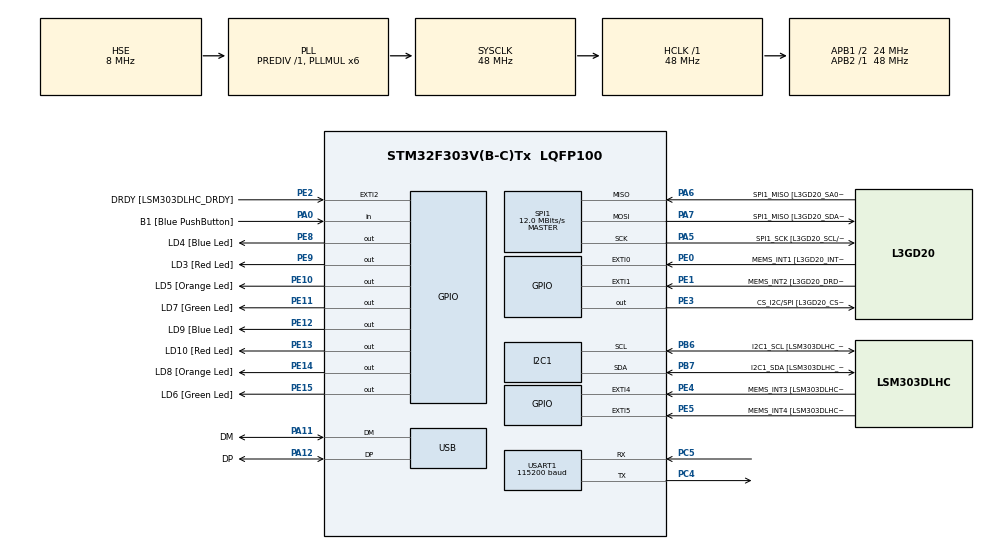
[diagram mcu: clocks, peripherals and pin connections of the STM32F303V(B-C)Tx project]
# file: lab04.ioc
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I2C1.Timing=0x00201D2B
I2C1.Timing-I2C=0x2000090E
Mcu.Family=STM32F3
Mcu.Name=STM32F303V(B-C)Tx
Mcu.Package=LQFP100
NVIC.PriorityGroup=NVIC_PRIORITYGROUP_0
NVIC.TIM2_IRQn=true\:0\:0\:false\:false\:true\:true\:true\:true
PA0.GPIO_Label=B1 [Blue PushButton]
PA0.Signal=GPIO_Input
PA11.GPIO_Label=DM
PA11.Mode=Device
PA11.Signal=USB_DM
PA12.GPIO_Label=DP
PA12.Mode=Device
PA12.Signal=USB_DP
PA13.GPIO_Label=SWDIO
PA13.Mode=Serial_Wire
PA13.Signal=SYS_JTMS-SWDIO
PA14.GPIO_Label=SWCLK
PA14.Mode=Serial_Wire
PA14.Signal=SYS_JTCK-SWCLK
PA5.GPIO_Label=SPI1_SCK [L3GD20_SCL/SPC]
PA5.Mode=Full_Duplex_Master
PA5.Signal=SPI1_SCK
PA6.GPIO_Label=SPI1_MISO [L3GD20_SA0/SDO]
PA6.Mode=Full_Duplex_Master
PA6.Signal=SPI1_MISO
PA7.GPIO_Label=SPI1_MISO [L3GD20_SDA/SDI/SDO]
PA7.Mode=Full_Duplex_Master
PA7.Signal=SPI1_MOSI
PB3.GPIO_Label=SWO
PB3.Signal=SYS_JTDO-TRACESWO
PB6.GPIO_Label=I2C1_SCL [LSM303DLHC_SCL]
PB6.GPIO_Pu=GPIO_PULLUP
PB6.Mode=I2C
PB6.Signal=I2C1_SCL
PB7.GPIO_Label=I2C1_SDA [LSM303DLHC_SDA]
PB7.GPIO_Pu=GPIO_PULLUP
PB7.Mode=I2C
PB7.Signal=I2C1_SDA
PC14-OSC32_IN.GPIO_Label=OSC32_IN
PC14-OSC32_IN.Signal=RCC_OSC32_IN
PC15-OSC32_OUT.GPIO_Label=OSC32_OUT
PC15-OSC32_OUT.Signal=RCC_OSC32_OUT
PC4.Mode=Asynchronous
PC4.Signal=USART1_TX
PC5.Mode=Asynchronous
PC5.Signal=USART1_RX
PE0.GPIO_Label=MEMS_INT1 [L3GD20_INT1]
PE0.GPIO_ModeDefaultEXTI=GPIO_MODE_EVT_RISING
PE0.Signal=GPXTI0
PE1.GPIO_Label=MEMS_INT2 [L3GD20_DRDY/INT2]
PE1.GPIO_ModeDefaultEXTI=GPIO_MODE_EVT_RISING
PE1.Signal=GPXTI1
PE10.GPIO_Label=LD5 [Orange Led]
PE10.Signal=GPIO_Output
PE11.GPIO_Label=LD7 [Green Led]
PE11.Signal=GPIO_Output
PE12.GPIO_Label=LD9 [Blue Led]
PE12.Signal=GPIO_Output
PE13.GPIO_Label=LD10 [Red Led]
PE13.Signal=GPIO_Output
PE14.GPIO_Label=LD8 [Orange Led]
PE14.Signal=GPIO_Output
PE15.GPIO_Label=LD6 [Green Led]
PE15.Signal=GPIO_Output
PE2.GPIO_Label=DRDY [LSM303DLHC_DRDY]
PE2.GPIO_ModeDefaultEXTI=GPIO_MODE_EVT_RISING
PE2.Signal=GPXTI2
PE3.GPIO_Label=CS_I2C/SPI [L3GD20_CS_I2C/SPI]
PE3.Signal=GPIO_Output
PE4.GPIO_Label=MEMS_INT3 [LSM303DLHC_INT1]
PE4.GPIO_ModeDefaultEXTI=GPIO_MODE_EVT_RISING
PE4.Signal=GPXTI4
PE5.GPIO_Label=MEMS_INT4 [LSM303DLHC_INT2]
PE5.GPIO_ModeDefaultEXTI=GPIO_MODE_EVT_RISING
PE5.Signal=GPXTI5
PE8.GPIO_Label=LD4 [Blue Led]
PE8.Signal=GPIO_Output
PE9.GPIO_Label=LD3 [Red Led]
PE9.Signal=GPIO_Output
PF0-OSC_IN.GPIO_Label=OSC_IN
PF0-OSC_IN.Mode=HSE-External-Clock-Source
PF0-OSC_IN.Signal=RCC_OSC_IN
PF1-OSC_OUT.GPIO_Label=OSC_OUT
PF1-OSC_OUT.Signal=RCC_OSC_OUT
ProjectManager.HeapSize=0x200
ProjectManager.StackSize=0x400
ProjectManager.TargetToolchain=CMake
RCC.AHBFreq_Value=48000000
RCC.APB1CLKDivider=RCC_HCLK_DIV2
RCC.APB1Freq_Value=24000000
RCC.APB1TimFreq_Value=48000000
RCC.APB2Freq_Value=48000000
RCC.APB2TimFreq_Value=48000000
RCC.CortexFreq_Value=48000000
RCC.HCLKFreq_Value=48000000
RCC.HSE_VALUE=8000000
RCC.HSI_VALUE=8000000
RCC.LSE_VALUE=32768
RCC.PLLMUL=RCC_PLL_MUL6
RCC.SYSCLKFreq_VALUE=48000000
RCC.SYSCLKSourceVirtual=RCC_SYSCLKSOURCE_PLLCLK
RCC.USBFreq_Value=48000000
SPI1.BaudRatePrescaler=SPI_BAUDRATEPRESCALER_4
SPI1.BaudRatePrescaler-Full_Duplex_Master=SPI_BAUDRATEPRESCALER_2
SPI1.CalculateBaudRate=12.0 MBits/s
SPI1.CalculateBaudRate-Full_Duplex_Master=24.0 MBits/s
SPI1.Direction=SPI_DIRECTION_2LINES
SPI1.Mode=SPI_MODE_MASTER
SPI1.Mode-Full_Duplex_Master=SPI_MODE_MASTER
SPI1.VirtualType=VM_MASTER
TIM2.Prescaler=71
USART1.BaudRate=115200
USART1.VirtualMode-Asynchronous=VM_ASYNC
VP_TIM2_VS_ClockSourceINT.Mode=Internal
board=STM32F3DISCOVERY

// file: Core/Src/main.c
/* USER CODE BEGIN Header */
/**
  ******************************************************************************
  * @file           : main.c
  * @brief          : Main program body
  ******************************************************************************
  * @attention
  *
  * Copyright (c) 2026 STMicroelectronics.
  * All rights reserved.
  *
  * This software is licensed under terms that can be found in the LICENSE file
  * in the root directory of this software component.
  * If no LICENSE file comes with this software, it is provided AS-IS.
  *
  ******************************************************************************
  */
/* USER CODE END Header */
#include "main.h"

/* USER CODE BEGIN Includes */
#include <stdarg.h>
#include <stdio.h>
#include <string.h>

/* USER CODE END Includes */

I2C_HandleTypeDef hi2c1;

SPI_HandleTypeDef hspi1;

TIM_HandleTypeDef htim2;

UART_HandleTypeDef huart1;

PCD_HandleTypeDef hpcd_USB_FS;

void SystemClock_Config(void);
static void MX_GPIO_Init(void);
static void MX_I2C1_Init(void);
static void MX_SPI1_Init(void);
static void MX_TIM2_Init(void);
static void MX_USART1_UART_Init(void);
static void MX_USB_PCD_Init(void);

/* USER CODE BEGIN 0 */

void delay(uint32_t t) {
    __HAL_TIM_SET_COUNTER(&htim2, 0);
    HAL_TIM_Base_Start(&htim2);
    while (__HAL_TIM_GET_COUNTER(&htim2) < t) {}
    HAL_TIM_Base_Stop(&htim2);
}

// void HAL_TIM_PeriodElapsedCallback ( TIM_HandleTypeDef *htim) {
//   if (htim -> Instance == TIM2) {
//   HAL_GPIO_TogglePin (GPIOE , GPIO_PIN_9 );
//   }
// }

int c=0;
void HAL_TIM_PeriodElapsedCallback(TIM_HandleTypeDef *htim) {
  if (htim -> Instance == TIM2) {c++;
    if (c%100==0){HAL_GPIO_TogglePin (GPIOE , GPIO_PIN_9 );}
    if (c%200==0 ){HAL_GPIO_TogglePin (GPIOE , GPIO_PIN_10 );}
    if (c%500==0){c=0;HAL_GPIO_TogglePin (GPIOE , GPIO_PIN_11 );}
  }
}

void task1(){
  HAL_GPIO_TogglePin (GPIOE , GPIO_PIN_9 );
  delay(1000);
}

uint32_t last_capture = 0, period = 0;
void HAL_TIM_IC_CaptureCallback ( TIM_HandleTypeDef *htim) {
  if (htim -> Channel == HAL_TIM_ACTIVE_CHANNEL_1 ) {
    uint32_t current_capture = HAL_TIM_ReadCapturedValue (htim ,
    TIM_CHANNEL_1 );
    period = current_capture - last_capture ;
    last_capture = current_capture ;
    }
}
void cout(const char* fmt, ...) {
    char buffer[128];
    va_list args;
    va_start(args, fmt);
    int l = vsnprintf(buffer, sizeof(buffer), fmt, args);
    va_end(args);
    if (l > 0) {
        HAL_UART_Transmit(&huart1, (uint8_t*)buffer, l, HAL_MAX_DELAY);
    }
}

/* USER CODE END 0 */

int main(void)
{

  /* MCU Configuration--------------------------------------------------------*/

  /* Reset of all peripherals, Initializes the Flash interface and the Systick. */
  HAL_Init();

  /* Configure the system clock */
  SystemClock_Config();

  /* Initialize all configured peripherals */
  MX_GPIO_Init();
  MX_I2C1_Init();
  MX_SPI1_Init();
  MX_TIM2_Init();
  MX_USART1_UART_Init();
  MX_USB_PCD_Init();

  /* Infinite loop */
  /* USER CODE BEGIN WHILE */
  HAL_NVIC_SetPriority(TIM2_IRQn, 0, 0);
  HAL_NVIC_EnableIRQ(TIM2_IRQn);
  HAL_TIM_Base_Start_IT(&htim2);
  HAL_TIM_IC_Start_IT(&htim3, TIM_CHANNEL_1);

  while (1)
  {
    /* USER CODE END WHILE */

  }
}

void SystemClock_Config(void)
{
  RCC_OscInitTypeDef RCC_OscInitStruct = {0};
  RCC_ClkInitTypeDef RCC_ClkInitStruct = {0};
  RCC_PeriphCLKInitTypeDef PeriphClkInit = {0};

  /** Initializes the RCC Oscillators according to the specified parameters
  * in the RCC_OscInitTypeDef structure.
  */
  RCC_OscInitStruct.OscillatorType = RCC_OSCILLATORTYPE_HSI|RCC_OSCILLATORTYPE_HSE;
  RCC_OscInitStruct.HSEState = RCC_HSE_BYPASS;
  RCC_OscInitStruct.HSEPredivValue = RCC_HSE_PREDIV_DIV1;
  RCC_OscInitStruct.HSIState = RCC_HSI_ON;
  RCC_OscInitStruct.HSICalibrationValue = RCC_HSICALIBRATION_DEFAULT;
  RCC_OscInitStruct.PLL.PLLState = RCC_PLL_ON;
  RCC_OscInitStruct.PLL.PLLSource = RCC_PLLSOURCE_HSE;
  RCC_OscInitStruct.PLL.PLLMUL = RCC_PLL_MUL6;
  if (HAL_RCC_OscConfig(&RCC_OscInitStruct) != HAL_OK)
  {
    Error_Handler();
  }

  /** Initializes the CPU, AHB and APB buses clocks
  */
  RCC_ClkInitStruct.ClockType = RCC_CLOCKTYPE_HCLK|RCC_CLOCKTYPE_SYSCLK
                              |RCC_CLOCKTYPE_PCLK1|RCC_CLOCKTYPE_PCLK2;
  RCC_ClkInitStruct.SYSCLKSource = RCC_SYSCLKSOURCE_PLLCLK;
  RCC_ClkInitStruct.AHBCLKDivider = RCC_SYSCLK_DIV1;
  RCC_ClkInitStruct.APB1CLKDivider = RCC_HCLK_DIV2;
  RCC_ClkInitStruct.APB2CLKDivider = RCC_HCLK_DIV1;

  if (HAL_RCC_ClockConfig(&RCC_ClkInitStruct, FLASH_LATENCY_1) != HAL_OK)
  {
    Error_Handler();
  }
  PeriphClkInit.PeriphClockSelection = RCC_PERIPHCLK_USB|RCC_PERIPHCLK_USART1
                              |RCC_PERIPHCLK_I2C1;
  PeriphClkInit.Usart1ClockSelection = RCC_USART1CLKSOURCE_PCLK2;
  PeriphClkInit.I2c1ClockSelection = RCC_I2C1CLKSOURCE_HSI;
  PeriphClkInit.USBClockSelection = RCC_USBCLKSOURCE_PLL;
  if (HAL_RCCEx_PeriphCLKConfig(&PeriphClkInit) != HAL_OK)
  {
    Error_Handler();
  }
}

static void MX_I2C1_Init(void)
{

  hi2c1.Instance = I2C1;
  hi2c1.Init.Timing = 0x00201D2B;
  hi2c1.Init.OwnAddress1 = 0;
  hi2c1.Init.AddressingMode = I2C_ADDRESSINGMODE_7BIT;
  hi2c1.Init.DualAddressMode = I2C_DUALADDRESS_DISABLE;
  hi2c1.Init.OwnAddress2 = 0;
  hi2c1.Init.OwnAddress2Masks = I2C_OA2_NOMASK;
  hi2c1.Init.GeneralCallMode = I2C_GENERALCALL_DISABLE;
  hi2c1.Init.NoStretchMode = I2C_NOSTRETCH_DISABLE;
  if (HAL_I2C_Init(&hi2c1) != HAL_OK)
  {
    Error_Handler();
  }

  /** Configure Analogue filter
  */
  if (HAL_I2CEx_ConfigAnalogFilter(&hi2c1, I2C_ANALOGFILTER_ENABLE) != HAL_OK)
  {
    Error_Handler();
  }

  /** Configure Digital filter
  */
  if (HAL_I2CEx_ConfigDigitalFilter(&hi2c1, 0) != HAL_OK)
  {
    Error_Handler();
  }

}

static void MX_SPI1_Init(void)
{

  /* SPI1 parameter configuration*/
  hspi1.Instance = SPI1;
  hspi1.Init.Mode = SPI_MODE_MASTER;
  hspi1.Init.Direction = SPI_DIRECTION_2LINES;
  hspi1.Init.DataSize = SPI_DATASIZE_4BIT;
  hspi1.Init.CLKPolarity = SPI_POLARITY_LOW;
  hspi1.Init.CLKPhase = SPI_PHASE_1EDGE;
  hspi1.Init.NSS = SPI_NSS_SOFT;
  hspi1.Init.BaudRatePrescaler = SPI_BAUDRATEPRESCALER_4;
  hspi1.Init.FirstBit = SPI_FIRSTBIT_MSB;
  hspi1.Init.TIMode = SPI_TIMODE_DISABLE;
  hspi1.Init.CRCCalculation = SPI_CRCCALCULATION_DISABLE;
  hspi1.Init.CRCPolynomial = 7;
  hspi1.Init.CRCLength = SPI_CRC_LENGTH_DATASIZE;
  hspi1.Init.NSSPMode = SPI_NSS_PULSE_ENABLE;
  if (HAL_SPI_Init(&hspi1) != HAL_OK)
  {
    Error_Handler();
  }

}

static void MX_TIM2_Init(void)
{

  TIM_ClockConfigTypeDef sClockSourceConfig = {0};
  TIM_MasterConfigTypeDef sMasterConfig = {0};

  htim2.Instance = TIM2;
  htim2.Init.Prescaler = 71;
  htim2.Init.CounterMode = TIM_COUNTERMODE_UP;
  htim2.Init.Period = 4294967295;
  htim2.Init.ClockDivision = TIM_CLOCKDIVISION_DIV1;
  htim2.Init.AutoReloadPreload = TIM_AUTORELOAD_PRELOAD_DISABLE;
  if (HAL_TIM_Base_Init(&htim2) != HAL_OK)
  {
    Error_Handler();
  }
  sClockSourceConfig.ClockSource = TIM_CLOCKSOURCE_INTERNAL;
  if (HAL_TIM_ConfigClockSource(&htim2, &sClockSourceConfig) != HAL_OK)
  {
    Error_Handler();
  }
  sMasterConfig.MasterOutputTrigger = TIM_TRGO_RESET;
  sMasterConfig.MasterSlaveMode = TIM_MASTERSLAVEMODE_DISABLE;
  if (HAL_TIMEx_MasterConfigSynchronization(&htim2, &sMasterConfig) != HAL_OK)
  {
    Error_Handler();
  }

}

static void MX_USART1_UART_Init(void)
{

  huart1.Instance = USART1;
  huart1.Init.BaudRate = 115200;
  huart1.Init.WordLength = UART_WORDLENGTH_8B;
  huart1.Init.StopBits = UART_STOPBITS_1;
  huart1.Init.Parity = UART_PARITY_NONE;
  huart1.Init.Mode = UART_MODE_TX_RX;
  huart1.Init.HwFlowCtl = UART_HWCONTROL_NONE;
  huart1.Init.OverSampling = UART_OVERSAMPLING_16;
  huart1.Init.OneBitSampling = UART_ONE_BIT_SAMPLE_DISABLE;
  huart1.AdvancedInit.AdvFeatureInit = UART_ADVFEATURE_NO_INIT;
  if (HAL_UART_Init(&huart1) != HAL_OK)
  {
    Error_Handler();
  }

}

static void MX_USB_PCD_Init(void)
{

  hpcd_USB_FS.Instance = USB;
  hpcd_USB_FS.Init.dev_endpoints = 8;
  hpcd_USB_FS.Init.speed = PCD_SPEED_FULL;
  hpcd_USB_FS.Init.phy_itface = PCD_PHY_EMBEDDED;
  hpcd_USB_FS.Init.low_power_enable = DISABLE;
  hpcd_USB_FS.Init.battery_charging_enable = DISABLE;
  if (HAL_PCD_Init(&hpcd_USB_FS) != HAL_OK)
  {
    Error_Handler();
  }

}

static void MX_GPIO_Init(void)
{
  GPIO_InitTypeDef GPIO_InitStruct = {0};

  /* GPIO Ports Clock Enable */
  __HAL_RCC_GPIOE_CLK_ENABLE();
  __HAL_RCC_GPIOC_CLK_ENABLE();
  __HAL_RCC_GPIOF_CLK_ENABLE();
  __HAL_RCC_GPIOA_CLK_ENABLE();
  __HAL_RCC_GPIOB_CLK_ENABLE();

  /*Configure GPIO pin Output Level */
  HAL_GPIO_WritePin(GPIOE, CS_I2C_SPI_Pin|LD4_Pin|LD3_Pin|LD5_Pin
                          |LD7_Pin|LD9_Pin|LD10_Pin|LD8_Pin
                          |LD6_Pin, GPIO_PIN_RESET);

  /*Configure GPIO pins : DRDY_Pin MEMS_INT3_Pin MEMS_INT4_Pin MEMS_INT1_Pin
                           MEMS_INT2_Pin */
  GPIO_InitStruct.Pin = DRDY_Pin|MEMS_INT3_Pin|MEMS_INT4_Pin|MEMS_INT1_Pin
                          |MEMS_INT2_Pin;
  GPIO_InitStruct.Mode = GPIO_MODE_EVT_RISING;
  GPIO_InitStruct.Pull = GPIO_NOPULL;
  HAL_GPIO_Init(GPIOE, &GPIO_InitStruct);

  /*Configure GPIO pins : CS_I2C_SPI_Pin LD4_Pin LD3_Pin LD5_Pin
                           LD7_Pin LD9_Pin LD10_Pin LD8_Pin
                           LD6_Pin */
  GPIO_InitStruct.Pin = CS_I2C_SPI_Pin|LD4_Pin|LD3_Pin|LD5_Pin
                          |LD7_Pin|LD9_Pin|LD10_Pin|LD8_Pin
                          |LD6_Pin;
  GPIO_InitStruct.Mode = GPIO_MODE_OUTPUT_PP;
  GPIO_InitStruct.Pull = GPIO_NOPULL;
  GPIO_InitStruct.Speed = GPIO_SPEED_FREQ_LOW;
  HAL_GPIO_Init(GPIOE, &GPIO_InitStruct);

  /*Configure GPIO pin : B1_Pin */
  GPIO_InitStruct.Pin = B1_Pin;
  GPIO_InitStruct.Mode = GPIO_MODE_INPUT;
  GPIO_InitStruct.Pull = GPIO_NOPULL;
  HAL_GPIO_Init(B1_GPIO_Port, &GPIO_InitStruct);

}

void Error_Handler(void)
{
  __disable_irq();
  while (1)
  {
  }
}
